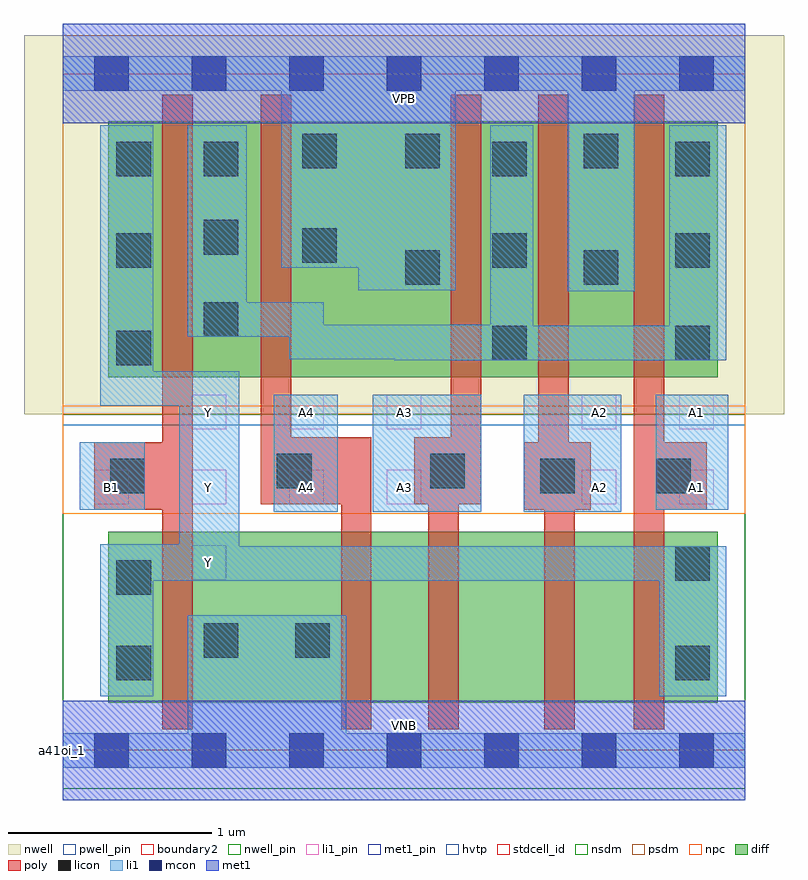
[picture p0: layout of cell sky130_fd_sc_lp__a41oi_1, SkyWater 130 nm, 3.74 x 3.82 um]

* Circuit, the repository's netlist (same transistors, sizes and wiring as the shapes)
* Copyright 2020 The SkyWater PDK Authors
*
* Licensed under the Apache License, Version 2.0 (the "License");
* you may not use this file except in compliance with the License.
* You may obtain a copy of the License at
*
*     https://www.apache.org/licenses/LICENSE-2.0
*
* Unless required by applicable law or agreed to in writing, software
* distributed under the License is distributed on an "AS IS" BASIS,
* WITHOUT WARRANTIES OR CONDITIONS OF ANY KIND, either express or implied.
* See the License for the specific language governing permissions and
* limitations under the License.
*
* SPDX-License-Identifier: Apache-2.0

.SUBCKT sky130_fd_sc_lp__a41oi_1 A1 A2 A3 A4 B1 VGND VNB VPB VPWR Y
*.PININFO A1:I A2:I A3:I A4:I B1:I VGND:I VNB:I VPB:I VPWR:I Y:O
MMPA0 pndA A1 VPWR VPB sky130_fd_pr__pfet_01v8_hvt m=1 w=1.26U l=0.15U mult=1 sa=0.265
+ sb=0.265 sd=0.28 area=0.063 perim=1.14
MMPA1 pndA A2 VPWR VPB sky130_fd_pr__pfet_01v8_hvt m=1 w=1.26U l=0.15U mult=1 sa=0.265
+ sb=0.265 sd=0.28 area=0.063 perim=1.14
MMPA2 pndA A3 VPWR VPB sky130_fd_pr__pfet_01v8_hvt m=1 w=1.26U l=0.15U mult=1 sa=0.265
+ sb=0.265 sd=0.28 area=0.063 perim=1.14
MMPA3 pndA A4 VPWR VPB sky130_fd_pr__pfet_01v8_hvt m=1 w=1.26U l=0.15U mult=1 sa=0.265
+ sb=0.265 sd=0.28 area=0.063 perim=1.14
MMPB0 Y B1 pndA VPB sky130_fd_pr__pfet_01v8_hvt m=1 w=1.26U l=0.15U mult=1 sa=0.265
+ sb=0.265 sd=0.28 area=0.063 perim=1.14
MMNA0 Y A1 sndA1 VNB sky130_fd_pr__nfet_01v8 m=1 w=0.84U l=0.15U mult=1 sa=0.265
+ sb=0.265 sd=0.28 area=0.063 perim=1.14
MMNA1 sndA1 A2 sndA2 VNB sky130_fd_pr__nfet_01v8 m=1 w=0.84U l=0.15U mult=1 sa=0.265
+ sb=0.265 sd=0.28 area=0.063 perim=1.14
MMNA2 sndA2 A3 sndA3 VNB sky130_fd_pr__nfet_01v8 m=1 w=0.84U l=0.15U mult=1 sa=0.265
+ sb=0.265 sd=0.28 area=0.063 perim=1.14
MMNA3 sndA3 A4 VGND VNB sky130_fd_pr__nfet_01v8 m=1 w=0.84U l=0.15U mult=1 sa=0.265
+ sb=0.265 sd=0.28 area=0.063 perim=1.14
MMNB0 Y B1 VGND VNB sky130_fd_pr__nfet_01v8 m=1 w=0.84U l=0.15U mult=1 sa=0.265
+ sb=0.265 sd=0.28 area=0.063 perim=1.14
.ENDS sky130_fd_sc_lp__a41oi_1

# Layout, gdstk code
import gdstk
lib = gdstk.Library(unit=1e-6, precision=1e-09)
def R(c, l, rs):  # rectangles x0, y0, x1, y1
    for r in rs: c.add(gdstk.rectangle(r[:2], r[2:], *l))
def A(c, l, x, y, w, h, nx, ny, dx, dy):  # array of equal rectangles
    R(c, l, [(x+i*dx, y+j*dy, x+i*dx+w, y+j*dy+h) for i in range(nx) for j in range(ny)])
def P(c, l, *ps):  # polygons
    for p in ps: c.add(gdstk.Polygon(p, *l))
nwell_pin = (64, 16)
nwell = (64, 20)
diff = (65, 20)
poly = (66, 20)
licon = (66, 44)
li1_pin = (67, 16)
li1 = (67, 20)
mcon = (67, 44)
met1_pin = (68, 16)
met1 = (68, 20)
hvtp = (78, 44)
stdcell_id = (81, 4)
nsdm = (93, 44)
psdm = (94, 20)
npc = (95, 20)
pwell_pin = (122, 16)
boundary2 = (236, 0)

sky130_fd_sc_lp__a41oi_1 = lib.new_cell('sky130_fd_sc_lp__a41oi_1')
R(sky130_fd_sc_lp__a41oi_1, nwell_pin, [(0,3.085,3.36,3.33)])
R(sky130_fd_sc_lp__a41oi_1, nwell, [(-0.19,1.655,3.55,3.52)])
R(sky130_fd_sc_lp__a41oi_1, diff, [(0.225,0.235,3.225,1.075), (0.225,1.835,3.225,3.095)])
P(sky130_fd_sc_lp__a41oi_1, poly, [(0.64,3.225),(0.49,3.225),(0.49,1.515),(0.155,1.515),(0.155,1.185),(0.49,1.185),(0.49,0.105),(0.64,0.105)],
  [(1.52,1.54),(1.125,1.54),(1.125,3.225),(0.975,3.225),(0.975,1.21),(1.37,1.21),(1.37,0.105),(1.52,0.105)],
  [(2.06,3.225),(1.91,3.225),(1.91,1.54),(1.73,1.54),(1.73,1.21),(1.8,1.21),(1.8,0.105),(1.95,0.105),(1.95,1.21),(2.06,1.21)],
  [(2.6,1.515),(2.49,1.515),(2.49,3.225),(2.34,3.225),(2.34,1.515),(2.27,1.515),(2.27,1.185),(2.37,1.185),(2.37,0.105),(2.52,0.105),(2.52,1.185),(2.6,1.185)],
  [(3.17,1.515),(2.96,1.515),(2.96,3.225),(2.81,3.225),(2.81,0.105),(2.96,0.105),(2.96,1.185),(3.17,1.185)])
R(sky130_fd_sc_lp__a41oi_1, licon, [(0.265,0.345,0.435,0.515), (3.015,0.345,3.185,0.515), (0.695,0.455,0.865,0.625), (1.145,0.455,1.315,0.625), (0.265,0.765,0.435,0.935), (3.015,0.835,3.185,1.005), (0.235,1.265,0.405,1.435), (2.35,1.265,2.52,1.435), (2.92,1.265,3.09,1.435), (1.055,1.29,1.225,1.46), (1.81,1.29,1.98,1.46), (0.265,1.895,0.435,2.065), (2.115,1.92,2.285,2.09), (3.015,1.92,3.185,2.09), (0.695,2.035,0.865,2.205), (1.685,2.29,1.855,2.46), (2.565,2.29,2.735,2.46), (0.265,2.375,0.435,2.545), (2.115,2.375,2.285,2.545), (3.015,2.375,3.185,2.545), (1.18,2.4,1.35,2.57), (0.695,2.44,0.865,2.61), (0.265,2.825,0.435,2.995), (0.695,2.825,0.865,2.995), (2.115,2.825,2.285,2.995), (3.015,2.825,3.185,2.995), (1.18,2.865,1.35,3.035), (1.685,2.865,1.855,3.035), (2.565,2.865,2.735,3.035)])
A(sky130_fd_sc_lp__a41oi_1, li1_pin, 0.155, 1.21, 0.17, 0.17, 4, 1, 0.48, 0)
A(sky130_fd_sc_lp__a41oi_1, li1_pin, 0.635, 1.58, 0.17, 0.17, 3, 1, 0.48, 0)
R(sky130_fd_sc_lp__a41oi_1, li1_pin, [(0.635,0.84,0.805,1.01), (2.555,1.21,2.725,1.38), (3.035,1.21,3.205,1.38), (2.555,1.58,2.725,1.75), (3.035,1.58,3.205,1.75)])
R(sky130_fd_sc_lp__a41oi_1, li1, [(1.04,1.175,1.355,1.75), (1.525,1.175,2.06,1.75), (2.27,1.175,2.75,1.75), (0.085,1.185,0.405,1.515), (2.92,1.185,3.275,1.75)])
P(sky130_fd_sc_lp__a41oi_1, li1, [(3.265,3.075),(2.985,3.075),(2.985,2.09),(2.315,2.09),(2.315,3.075),(2.105,3.075),(2.105,2.095),(1.285,2.095),(1.285,2.205),(0.905,2.205),(0.905,3.075),(0.615,3.075),(0.615,2.035),(1.115,2.035),(1.115,1.925),(1.635,1.925),(1.635,1.92),(3.265,1.92)],
  [(3.36,3.415),(0,3.415),(0,3.245),(1.075,3.245),(1.075,2.375),(1.455,2.375),(1.455,2.265),(1.935,2.265),(1.935,3.245),(2.485,3.245),(2.485,2.26),(2.815,2.26),(2.815,3.245),(3.36,3.245)],
  [(2.935,0.265),(2.935,0.835),(0.445,0.835),(0.445,0.265),(0.185,0.265),(0.185,1.015),(0.575,1.015),(0.575,1.695),(0.185,1.695),(0.185,3.075),(0.445,3.075),(0.445,1.865),(0.87,1.865),(0.87,1.005),(3.265,1.005),(3.265,0.265)],
  [(3.36,0.085),(1.395,0.085),(1.395,0.665),(0.615,0.665),(0.615,0.085),(0,0.085),(0,-0.085),(3.36,-0.085)])
A(sky130_fd_sc_lp__a41oi_1, mcon, 0.155, -0.085, 0.17, 0.17, 7, 2, 0.48, 3.33)
R(sky130_fd_sc_lp__a41oi_1, met1_pin, [(0,0,3.36,0.245), (0,3.085,3.36,3.33)])
R(sky130_fd_sc_lp__a41oi_1, met1, [(0,-0.245,3.36,0.245), (0,3.085,3.36,3.575)])
R(sky130_fd_sc_lp__a41oi_1, hvtp, [(0,1.6,3.36,3.33)])
R(sky130_fd_sc_lp__a41oi_1, stdcell_id, [(0,0,3.36,3.33)])
R(sky130_fd_sc_lp__a41oi_1, nsdm, [(0,-0.19,3.36,1.655)])
R(sky130_fd_sc_lp__a41oi_1, psdm, [(0,1.655,3.36,3.52)])
R(sky130_fd_sc_lp__a41oi_1, npc, [(0,1.165,3.36,1.695)])
R(sky130_fd_sc_lp__a41oi_1, pwell_pin, [(0,0,3.36,0.245)])
R(sky130_fd_sc_lp__a41oi_1, boundary2, [(0,0,3.36,3.33)])
sky130_fd_sc_lp__a41oi_1.add(gdstk.Label('VNB', (1.68,0.123), layer=64, texttype=59))
sky130_fd_sc_lp__a41oi_1.add(gdstk.Label('VPB', (1.68,3.208), layer=64, texttype=5))
sky130_fd_sc_lp__a41oi_1.add(gdstk.Label('a41oi_1', (0,0), layer=83, texttype=44))
sky130_fd_sc_lp__a41oi_1.add(gdstk.Label('VPWR', (1.68,3.208), layer=68, texttype=5))
sky130_fd_sc_lp__a41oi_1.add(gdstk.Label('VGND', (1.68,0.123), layer=68, texttype=5))
sky130_fd_sc_lp__a41oi_1.add(gdstk.Label('A1', (3.12,1.295), layer=67, texttype=5))
sky130_fd_sc_lp__a41oi_1.add(gdstk.Label('A2', (2.64,1.295), layer=67, texttype=5))
sky130_fd_sc_lp__a41oi_1.add(gdstk.Label('A3', (1.68,1.295), layer=67, texttype=5))
sky130_fd_sc_lp__a41oi_1.add(gdstk.Label('A3', (1.68,1.665), layer=67, texttype=5))
sky130_fd_sc_lp__a41oi_1.add(gdstk.Label('A4', (1.2,1.295), layer=67, texttype=5))
sky130_fd_sc_lp__a41oi_1.add(gdstk.Label('A4', (1.2,1.665), layer=67, texttype=5))
sky130_fd_sc_lp__a41oi_1.add(gdstk.Label('B1', (0.24,1.295), layer=67, texttype=5))
sky130_fd_sc_lp__a41oi_1.add(gdstk.Label('A1', (3.12,1.665), layer=67, texttype=5))
sky130_fd_sc_lp__a41oi_1.add(gdstk.Label('A2', (2.64,1.665), layer=67, texttype=5))
sky130_fd_sc_lp__a41oi_1.add(gdstk.Label('Y', (0.72,0.925), layer=67, texttype=5))
sky130_fd_sc_lp__a41oi_1.add(gdstk.Label('Y', (0.72,1.295), layer=67, texttype=5))
sky130_fd_sc_lp__a41oi_1.add(gdstk.Label('Y', (0.72,1.665), layer=67, texttype=5))

lib.write_gds('sky130_fd_sc_lp__a41oi_1.gds')
